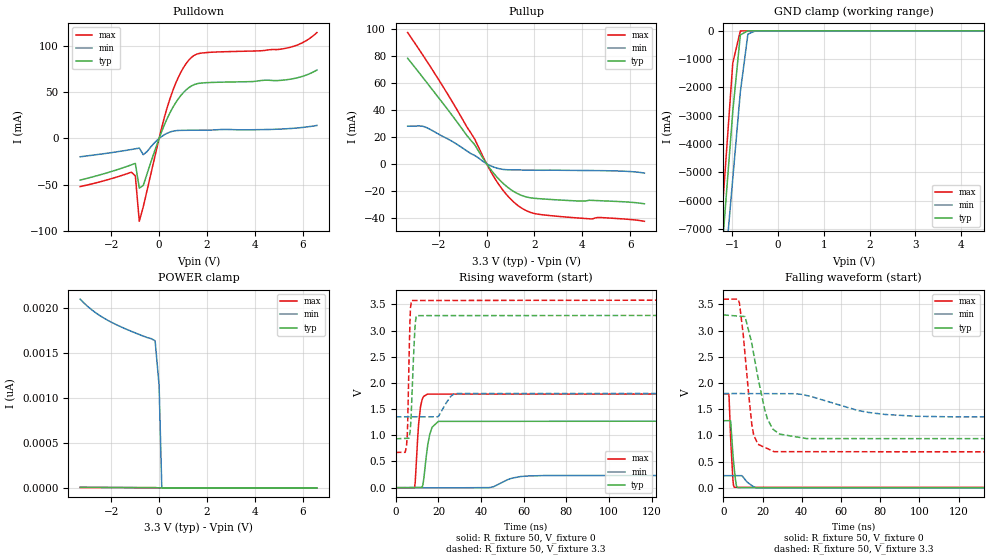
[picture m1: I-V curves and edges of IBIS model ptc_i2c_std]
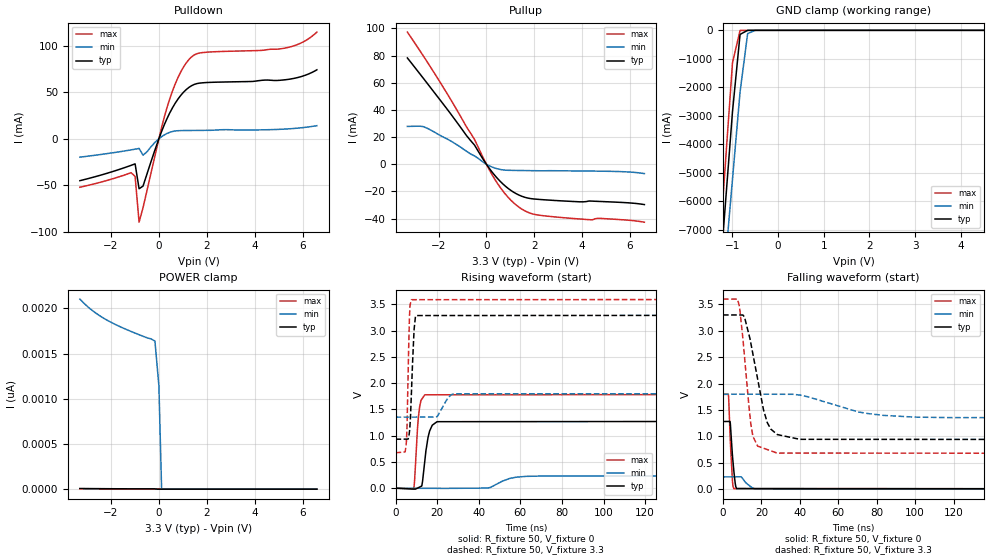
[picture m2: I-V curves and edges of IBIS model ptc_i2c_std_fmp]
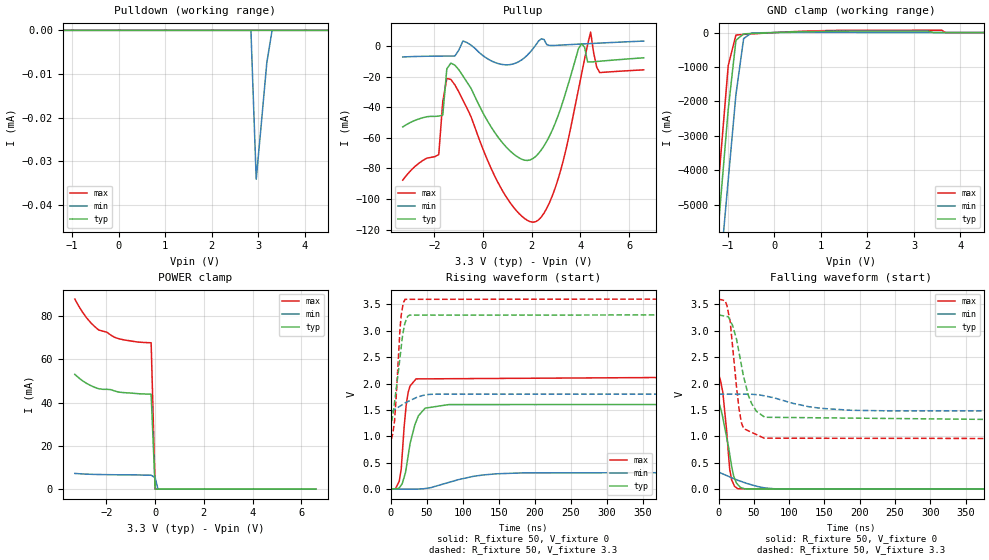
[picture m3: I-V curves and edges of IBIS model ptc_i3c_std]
|   Microchip Technology, Incorporated
|   PIC18F14Q20/PIC18F15Q20/PIC18F16Q20
[IBIS Ver]   4.2
[Date]   February 2, 2024
[File Name]   PIC18F1xQ20_soic20_LV.ibs
[File rev]   1.0
[SOURCE]   File originated at Microchip
[Notes]   The following is an IBIS list for the PIC18F1xQ20 Family.
|   LV = Low Voltage Range 1.8V, 3.3V, 3.6V.
|   -All test data contained in this file is derived
|   from hspice simulation. Simulations are made with
|   typical process model. Linear extrapolation is
|   used to get to the endpoints where spice model is
|   not well behaved. Customer should be aware that
|   accuracy is not warranted under process variation
|   and extrapolated area.
|   -The package model information is from Amkor Technology
|   -Revision History
|   Version Date   Author
|   1.0   February 2024   SC/LS
[Disclaimer] Property of Microchip technology Incorporated.
                Unauthorized reproduction and/or distribution is strictly
                restricted.  All rights reserved.
                The model provided is not warranted as fully representing
                all of the operating characteristics and specifications
                of all the semiconductor products related to the model.
                Microchip does not assume any liability for the proper
                functioning of these IBIS models in your design or for
                any resulting application.
                Microchip does not assume any liability for infringement
                of patents, copyrights or intellectual property rights
                resulting from your use of these IBIS models.
                Microchip reserves the right to make changes without notice
                to these IBIS models to improve reliability, function, or
                design.
                Please be aware that your receipt and use of the IBIS
                information provided shall serve as acceptance of these
                terms and conditions.  If you do not accept these terms,
                you should return or destroy the IBIS model and any other
                accompanying information immediately.
[Component] PIC18F1xQ20
[manufacturer] MICROCHIP TECHNOLOGY Inc.
[Package]
R_pkg   21.8m   17.0m   26.6m
L_pkg   3.100nH 1.890nH 4.310nH
C_pkg   0.712pF 0.608pF 0.816pF
[Pin]   signal_name   model_name   R_pin   L_pin   C_pin
1   VDD   POWER
2   RA5   io_dig
3   RA4   io_osc2
4   RA3   in_nmclr
5   RC5   io_i2c
6   RC4   io_i2c
7   RC3   io_dig
8   RC6   io_dig
9   RC7   io_dig
10   RB7   io_dig
11   RB6   ptc_i2c
12   RB5   ptc_i3c
13   VDDIO3   POWER
14   VDDIO2   POWER
15   RC1   ptc_i3c
16   RC0   ptc_i2c
17   RA2   io_vrefl
18   RA1   io_vrefh10
19   RA0   io_dig
20   VSS   GND
[Model Selector] ptc_i2c
| Model Description
ptc_i2c_std   Normal Driver
ptc_i2c_slctrl   Slew Rate Limited Driver
ptc_i2c_std_fmp   Normal Driver Fast Mode Plus
ptc_i2c_slctrl_fmp   Slew Rate Limited Driver Fast Mode Plus
[Model Selector] ptc_i3c
| Model Description
ptc_i3c_std   Normal Driver
ptc_i2c_std   Normal Driver
ptc_i2c_slctrl   Slew Rate Limited Driver
ptc_i2c_std_fmp   Normal Driver Fast Mode Plus
ptc_i2c_slctrl_fmp   Slew Rate Limited Driver Fast Mode Plus
|[Package Model]   There is an optional, fairly complex Package Modeling
|   section here in the file if you want it.  You will have
|   to add it yourself, because SiliconSmart has no
|   notion of packaging.  Please see the IBIS Specification
|   for details.
[Model Selector] io_dig
| Model Description
io_dig_std   Normal Driver
io_dig_slctrl   Slew Rate Limited Driver
[Model Selector] io_i2c
| Model Description
io_i2c_std   Normal Driver
io_i2c_slctrl   Slew Rate Limited Driver
[Model Selector] io_osc2
| Model Description
io_osc2_std   Normal Driver
io_osc2_slctrl   Slew Rate Limited Driver
[Model Selector] io_vrefh5
| Model Description
io_vrefh5_std   Normal Driver
io_vrefh5_slctrl   Slew Rate Limited Driver
[Model Selector] io_vrefh8
| Model Description
io_vrefh8_std   Normal Driver
io_vrefh8_slctrl   Slew Rate Limited Driver
[Model Selector] io_vrefl
| Model Description
io_vrefl_std   Normal Driver
io_vrefl_slctrl   Slew Rate Limited Driver
[Model Selector] io_zxover
| Model Description
io_zxover_std   Normal Driver
io_zxover_slctrl   Slew Rate Limited Driver
[Model Selector] io_dacbuf
| Model Description
io_dacbuf_std   Normal Driver
io_dacbuf_slctrl   Slew Rate Limited Driver
[Model Selector] io_wpd
| Model Description
io_wpd_std   Normal Driver
io_wpd_slctrl   Slew Rate Limited Driver
[Model Selector] io_vrefh10
| Model Description
io_vrefh10_std   Normal Driver
io_vrefh10_slctrl   Slew Rate Limited Driver
[Model Selector] io_opa
| Model Description
io_opa_std   Normal Driver
io_opa_slctrl   Slew Rate Limited Driver
| Models and submodels in the file (28): ptc_i2c_std (I/O), ptc_i2c_slctrl (I/O), ptc_i2c_std_fmp (I/O), ptc_i2c_slctrl_fmp (I/O), ptc_i3c_std (I/O), in_nmclr (Input), io_dig_std (I/O), io_dig_slctrl (I/O), io_i2c_std (I/O), io_i2c_slctrl (I/O), io_osc2_std (I/O), io_osc2_slctrl (I/O), io_vrefh5_std (I/O), io_vrefh5_slctrl (I/O), io_vrefh8_std (I/O), io_vrefh8_slctrl (I/O), io_vrefl_std (I/O), io_vrefl_slctrl (I/O), io_zxover_std (I/O), io_zxover_slctrl (I/O), io_dacbuf_std (I/O), io_dacbuf_slctrl (I/O), io_wpd_std (I/O), io_wpd_slctrl (I/O), io_vrefh10_std (I/O), io_vrefh10_slctrl (I/O), io_opa_std (I/O), io_opa_slctrl (I/O)
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[Model] ptc_i2c_std
Model_type I/O
Enable   Active-High
Vinl  =  0.8
Vinh  =  2
| Capacitance   typ   min   max
C_comp   1.98838661529362e-12   1.936286520932678e-12   2.024227933539483e-12
[Model Spec]
| Subparameter   typ   min   max
Vinl   0.99   0.54   1.08
Vinh   2.1   1.26   2.52
Vmeas   1.65   0.9   1.8
| Variables   typ   min   max
[GND Clamp Reference]   0   0   0
[POWER Clamp Reference]   3.3   1.8   3.6
[Pulldown Reference]   0   0   0
[Pullup Reference]   3.3   1.8   3.6
[Temperature Range]   25   125   -40
[Voltage Range]   3.3   1.8   3.6
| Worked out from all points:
|   slope of the pulldown table from 0 to 0.495 V, typ, clamps not added: 16.6 ohm
|   slope of the pullup table from 0 to 0.495 V, typ, clamps not added: 44.8 ohm
|   GND clamp passes 1 mA (typ) near -0.66 V on its own axis
|   falling waveform, R_fixture 50, V_fixture 0: 20-80 % time 1.7ns typ, 3.95ns min, 1.35ns max; typ from 1.28 V to 0 V
|   falling waveform, R_fixture 50, V_fixture 3.3: 20-80 % time 7.71ns typ, 25.9ns min, 4.53ns max; typ from 3.3 V to 0.933 V
|   rising waveform, R_fixture 50, V_fixture 0: 20-80 % time 2.6ns typ, 7.87ns min, 1.83ns max; typ from 0 V to 1.28 V
|   rising waveform, R_fixture 50, V_fixture 3.3: 20-80 % time 1.46ns typ, 4.02ns min, 958ps max; typ from 0.933 V to 3.3 V
[GND Clamp]
| Voltage   I(typ)   I(min)   I(max)
-3.3V     -51.07A    -47.87A    -53.84A
-1.324V   -9.771A    -11.34A    -8.69A
-1.159V   -6.312A    -8.283A    -4.908A
-993.1mV  -2.852A    -5.223A    -1.138A
-827.6mV  -143.2mA   -2.163A    -4.59mA
-662.1mV  -919.7uA   -114.5mA   -518.5uA
-496.6mV  -19.72uA   -1.156mA   -5.378uA
6.6V      0A         0A         0A
[POWER Clamp]
| Voltage   I(typ)   I(min)   I(max)
-3.3V     7.272pA    2.102nA    4.371pA
-2.814V   6.225pA    1.982nA    3.954pA
-2.152V   5.06pA     1.867nA    3.392pA
-1.49V    4.113pA    1.781nA    2.842pA
-165.5mV  2.92pA     1.638nA    2.04pA
0V        0A         1.145nA    0A
113.8mV   0A         0A         0A
6.6V      0A         0A         0A
[Pulldown]
| Voltage   I(typ)   I(min)   I(max)
-3.3V     -45.15mA   -19.86mA   -52.2mA
-1.159V   -28.61mA   -11.95mA   -36.57mA
-993.1mV  -27.04mA   -11.21mA   -40.53mA
-827.6mV  -53.85mA   -10.43mA   -89.85mA
-662.1mV  -50.96mA   -17.64mA   -74.19mA
341.4mV   21.81mA    5.724mA    33.74mA
796.6mV   42.72mA    8.675mA    65.86mA
1.252V    55.26mA    8.915mA    85.26mA
1.821V    60.23mA    9.026mA    92.79mA
5.286V    63.56mA    10.47mA    97.75mA
6.031V    67.66mA    12.05mA    104.3mA
6.6V      74.26mA    14.12mA    114.9mA
[Pullup]
| Voltage   I(typ)   I(min)   I(max)
-3.3V     78.25mA    27.85mA    97.29mA
-2.483V   59.84mA    26.6mA     75.64mA
-496.6mV  14.15mA    6.163mA    18.29mA
227.6mV   -5.514mA   -1.97mA    -7.381mA
682.8mV   -14.4mA    -4.168mA   -19.57mA
1.252V    -21.74mA   -4.568mA   -30.15mA
1.707V    -24.81mA   -4.685mA   -35.17mA
2.162V    -25.84mA   -4.786mA   -37.42mA
4.417V    -27.16mA   -5.042mA   -40.95mA
4.666V    -27.35mA   -5.088mA   -39.82mA
5.41V     -27.91mA   -5.319mA   -40.56mA
6.6V      -29.7mA    -6.882mA   -42.67mA
[Ramp]
dV/dt_r   0.768931/2.60063n  0.139533/7.8736n  1.07689/1.83428n
dV/dt_f   1.42001/7.71333n  0.268118/25.9147n  1.7557/4.53418n
R_load = 50
[Falling Waveform]
R_fixture = 50
V_fixture = 0
V_fixture_min = 0
V_fixture_max = 0
| Time   V(typ)   V(min)   V(max)
0s        1.282V     232.6mV    1.795V
2.795ns   1.282V     232.6mV    1.79V
2.956ns   1.282V     232.6mV    1.707V
3.799ns   1.244V     232.6mV    897.4mV
4.809ns   688mV      232.6mV    205mV
5.618ns   353.6mV    232.6mV    10.39mV
6.671ns   43.84mV    232.6mV    10.37mV
7.568ns   3.165mV    232.6mV    10.35mV
17.77ns   3.107mV    1.056mV    10.16mV
562.5ns   52.55pV    6.08nV     12.87pV
[Falling Waveform]
R_fixture = 50
V_fixture = 3.3
V_fixture_min = 1.8
V_fixture_max = 3.6
| Time   V(typ)   V(min)   V(max)
0s        3.3V       1.8V       3.6V
7.496ns   3.279V     1.799V     3.602V
8.24ns    3.277V     1.799V     3.526V
11.07ns   3.269V     1.799V     2.547V
14.53ns   2.752V     1.799V     1.212V
15.46ns   2.56V      1.799V     1.012V
21.03ns   1.508V     1.798V     773.9mV
25.94ns   1.102V     1.798V     690.6mV
98.37ns   939.4mV    1.366V     688.4mV
562.5ns   933.3mV    1.353V     673.8mV
[Rising Waveform]
R_fixture = 50
V_fixture = 0
V_fixture_min = 0
V_fixture_max = 0
| Time   V(typ)   V(min)   V(max)
0s        14.62pV    15.17nV    10.71pV
8.766ns   4.932mV    -1.167mV   -2.101mV
10.68ns   6.011mV    -1.422mV   1.208V
11.55ns   6.497mV    -1.537mV   1.539V
12.76ns   68.99mV    -1.698mV   1.719V
14.84ns   775.6mV    -1.976mV   1.787V
17.02ns   1.155V     -2.266mV   1.787V
19.97ns   1.266V     -2.658mV   1.787V
69.4ns    1.268V     231.6mV    1.788V
562.5ns   1.282V     232.6mV    1.795V
[Rising Waveform]
R_fixture = 50
V_fixture = 3.3
V_fixture_min = 1.8
V_fixture_max = 3.6
| Time   V(typ)   V(min)   V(max)
0s        933.3mV    1.353V     673.8mV
4.979ns   941.5mV    1.353V     782.1mV
5.544ns   942.5mV    1.353V     1.202V
6.63ns    1.044V     1.353V     3.17V
7.357ns   1.539V     1.353V     3.574V
8.903ns   3.009V     1.353V     3.574V
9.866ns   3.285V     1.353V     3.574V
19.92ns   3.285V     1.362V     3.574V
28.49ns   3.286V     1.797V     3.575V
562.5ns   3.3V       1.8V       3.6V
[Model] ptc_i2c_std_fmp
Model_type I/O
Enable   Active-High
Vinl  =  0.8
Vinh  =  2
| Capacitance   typ   min   max
C_comp   1.98838661529362e-12   1.936286520932678e-12   2.024227933539483e-12
[Model Spec]
| Subparameter   typ   min   max
Vinl   0.99   0.54   1.08
Vinh   2.1   1.26   2.52
Vmeas   1.65   0.9   1.8
| Variables   typ   min   max
[GND Clamp Reference]   0   0   0
[POWER Clamp Reference]   3.3   1.8   3.6
[Pulldown Reference]   0   0   0
[Pullup Reference]   3.3   1.8   3.6
[Temperature Range]   25   125   -40
[Voltage Range]   3.3   1.8   3.6
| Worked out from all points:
|   slope of the pulldown table from 0 to 0.495 V, typ, clamps not added: 16.6 ohm
|   slope of the pullup table from 0 to 0.495 V, typ, clamps not added: 44.8 ohm
|   GND clamp passes 1 mA (typ) near -0.66 V on its own axis
|   falling waveform, R_fixture 50, V_fixture 0: 20-80 % time 1.7ns typ, 3.9ns min, 1.36ns max; typ from 1.28 V to 0 V
|   falling waveform, R_fixture 50, V_fixture 3.3: 20-80 % time 7.69ns typ, 25.9ns min, 4.52ns max; typ from 3.3 V to 0.933 V
|   rising waveform, R_fixture 50, V_fixture 0: 20-80 % time 2.65ns typ, 7.82ns min, 1.78ns max; typ from 0 V to 1.28 V
|   rising waveform, R_fixture 50, V_fixture 3.3: 20-80 % time 1.45ns typ, 3.94ns min, 976ps max; typ from 0.933 V to 3.3 V
[GND Clamp]
| Voltage   I(typ)   I(min)   I(max)
-3.3V     -51.07A    -47.87A    -53.84A
-1.324V   -9.771A    -11.34A    -8.69A
-1.159V   -6.312A    -8.283A    -4.908A
-993.1mV  -2.852A    -5.223A    -1.138A
-827.6mV  -143.2mA   -2.163A    -4.59mA
-662.1mV  -919.7uA   -114.5mA   -518.5uA
-496.6mV  -19.72uA   -1.156mA   -5.378uA
6.6V      0A         0A         0A
[POWER Clamp]
| Voltage   I(typ)   I(min)   I(max)
-3.3V     7.272pA    2.102nA    4.371pA
-2.814V   6.225pA    1.982nA    3.954pA
-2.152V   5.06pA     1.867nA    3.392pA
-1.49V    4.113pA    1.781nA    2.842pA
-165.5mV  2.92pA     1.638nA    2.04pA
0V        0A         1.145nA    0A
113.8mV   0A         0A         0A
6.6V      0A         0A         0A
[Pulldown]
| Voltage   I(typ)   I(min)   I(max)
-3.3V     -45.15mA   -19.86mA   -52.2mA
-1.159V   -28.61mA   -11.95mA   -36.57mA
-993.1mV  -27.04mA   -11.21mA   -40.53mA
-827.6mV  -53.85mA   -10.43mA   -89.85mA
-662.1mV  -50.96mA   -17.64mA   -74.19mA
341.4mV   21.81mA    5.724mA    33.74mA
796.6mV   42.72mA    8.675mA    65.86mA
1.252V    55.26mA    8.915mA    85.26mA
1.821V    60.23mA    9.026mA    92.79mA
5.286V    63.56mA    10.47mA    97.75mA
6.031V    67.66mA    12.05mA    104.3mA
6.6V      74.26mA    14.12mA    114.9mA
[Pullup]
| Voltage   I(typ)   I(min)   I(max)
-3.3V     78.25mA    27.85mA    97.29mA
-2.483V   59.84mA    26.6mA     75.64mA
-496.6mV  14.15mA    6.163mA    18.29mA
227.6mV   -5.514mA   -1.97mA    -7.381mA
682.8mV   -14.4mA    -4.168mA   -19.57mA
1.252V    -21.74mA   -4.568mA   -30.15mA
1.707V    -24.81mA   -4.685mA   -35.17mA
2.162V    -25.84mA   -4.786mA   -37.42mA
4.417V    -27.16mA   -5.042mA   -40.95mA
4.666V    -27.35mA   -5.088mA   -39.82mA
5.41V     -27.91mA   -5.319mA   -40.56mA
6.6V      -29.7mA    -6.882mA   -42.67mA
[Ramp]
dV/dt_r   0.768931/2.64622n  0.139533/7.82043n  1.07689/1.78423n
dV/dt_f   1.42001/7.69196n  0.268118/25.9295n  1.7557/4.51862n
R_load = 50
[Falling Waveform]
R_fixture = 50
V_fixture = 0
V_fixture_min = 0
V_fixture_max = 0
| Time   V(typ)   V(min)   V(max)
0s        1.282V     232.6mV    1.795V
2.871ns   1.282V     232.9mV    1.763V
3.799ns   1.244V     233mV      905.4mV
4.931ns   623.4mV    233.2mV    143.2mV
5.611ns   351.1mV    233.3mV    10.62mV
6.308ns   117.8mV    233.3mV    10.61mV
7.072ns   11.16mV    233.4mV    10.59mV
9.36ns    11.11mV    233.7mV    10.55mV
18.48ns   10.93mV    689.2uV    10.38mV
562.5ns   105pV      5.795nV    13.76pV
[Falling Waveform]
R_fixture = 50
V_fixture = 3.3
V_fixture_min = 1.8
V_fixture_max = 3.6
| Time   V(typ)   V(min)   V(max)
0s        3.3V       1.8V       3.6V
7.523ns   3.299V     1.799V     3.601V
8.585ns   3.299V     1.799V     3.454V
11.14ns   3.264V     1.799V     2.523V
14.5ns    2.76V      1.799V     1.221V
15.55ns   2.557V     1.799V     998.9mV
23ns      1.262V     1.798V     750.2mV
28.14ns   1.037V     1.798V     683.4mV
99.67ns   943mV      1.365V     682.1mV
562.5ns   933.3mV    1.353V     673.8mV
[Rising Waveform]
R_fixture = 50
V_fixture = 0
V_fixture_min = 0
V_fixture_max = 0
| Time   V(typ)   V(min)   V(max)
0s        15.13pV    15.16nV    9.769pV
8.689ns   -16.65mV   -1.134mV   -9.845mV
9.151ns   -17.54mV   -1.195mV   137.5mV
10.98ns   10.42mV    -1.434mV   1.349V
12.62ns   42.41mV    -1.648mV   1.695V
14.08ns   521.4mV    -1.838mV   1.778V
16.4ns    1.091V     -2.141mV   1.778V
19.97ns   1.266V     -2.607mV   1.778V
70.38ns   1.268V     231.8mV    1.78V
562.5ns   1.282V     232.6mV    1.795V
[Rising Waveform]
R_fixture = 50
V_fixture = 3.3
V_fixture_min = 1.8
V_fixture_max = 3.6
| Time   V(typ)   V(min)   V(max)
0s        933.3mV    1.353V     673.8mV
4.971ns   933.8mV    1.353V     779.6mV
5.487ns   933.9mV    1.353V     1.117V
6.681ns   1.07V      1.353V     3.236V
7.644ns   1.825V     1.353V     3.588V
8.915ns   3.017V     1.353V     3.588V
9.898ns   3.286V     1.353V     3.588V
19.84ns   3.286V     1.36V      3.588V
28.28ns   3.287V     1.797V     3.588V
562.5ns   3.3V       1.8V       3.6V
[Model] ptc_i3c_std
Model_type I/O
Enable   Active-High
Vinl  =  0.8
Vinh  =  2
| Capacitance   typ   min   max
C_comp   1.361875082115405e-11   6.269868446205175e-12   1.783801958453184e-11
[Model Spec]
| Subparameter   typ   min   max
Vinl   0.99   0.54   1.08
Vinh   2.1   1.26   2.52
Vmeas   1.65   0.9   1.8
| Variables   typ   min   max
[GND Clamp Reference]   0   0   0
[POWER Clamp Reference]   3.3   1.8   3.6
[Pulldown Reference]   0   0   0
[Pullup Reference]   3.3   1.8   3.6
[Temperature Range]   25   125   -40
[Voltage Range]   3.3   1.8   3.6
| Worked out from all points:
|   slope of the pullup table from 0 to 0.495 V, typ, clamps not added: 38 ohm
|   GND clamp passes 1 mA (typ) near -0.02 V on its own axis
|   POWER clamp passes 1 mA (typ) near -0.00 V on its own axis
|   falling waveform, R_fixture 50, V_fixture 0: 20-80 % time 13.2ns typ, 39.4ns min, 8.44ns max; typ from 1.6 V to 0 V
|   falling waveform, R_fixture 50, V_fixture 3.3: 20-80 % time 20.4ns typ, 61.3ns min, 12.3ns max; typ from 3.3 V to 1.3 V
|   rising waveform, R_fixture 50, V_fixture 0: 20-80 % time 14.7ns typ, 55ns min, 7.92ns max; typ from 0 V to 1.6 V
|   rising waveform, R_fixture 50, V_fixture 3.3: 20-80 % time 10.5ns typ, 26.3ns min, 6.84ns max; typ from 1.3 V to 3.3 V
[GND Clamp]
| Voltage   I(typ)   I(min)   I(max)
-3.3V     -39.54A    -39.18A    -39.98A
-1.324V   -7.572A    -9.286A    -6.463A
-1.159V   -4.896A    -6.782A    -3.659A
-993.1mV  -2.231A    -4.281A    -957.2mA
-827.6mV  -223.3mA   -1.803A    -71.34mA
-662.1mV  -37.81mA   -175.3mA   -53.68mA
-496.6mV  -27.03mA   -11.91mA   -39.7mA
1.593V    42.48mA    6.417mA    65.51mA
3.3V      43.85mA    0A         67.47mA
3.6V      0A         0A         67.6mA
3.672V    0A         0A         0A
6.6V      0A         0A         0A
[POWER Clamp]
| Voltage   I(typ)   I(min)   I(max)
-3.3V     53.05mA    7.265mA    87.88mA
-2.979V   50.07mA    7.038mA    81.74mA
-2.814V   48.89mA    6.952mA    79.16mA
-2.317V   46.41mA    6.778mA    73.57mA
-1.986V   46.16mA    6.709mA    72.57mA
-1.655V   45.35mA    6.659mA    70.14mA
-1.49V    44.86mA    6.639mA    69.52mA
-662.1mV  44.1mA     6.563mA    67.96mA
-165.5mV  43.91mA    6.465mA    67.67mA
0V        0A         5.275mA    0A
113.8mV   0A         0A         0A
6.6V      0A         0A         0A
[Pulldown]
| Voltage   I(typ)   I(min)   I(max)
-3.3V     0A         0A         0A
2.845V    0A         0A         0A
2.959V    0A         -34.11uA   0A
3.186V    0A         -7.422uA   0A
3.3V      0A         0A         0A
5.162V    0A         0A         0A
5.286V    -721.6uA   0A         0A
5.534V    -47.66uA   0A         0A
5.659V    0A         0A         0A
5.783V    0A         0A         -522.5uA
5.907V    0A         0A         0A
6.6V      0A         0A         0A
[Pullup]
| Voltage   I(typ)   I(min)   I(max)
-3.3V     -52.9mA    -7.245mA   -87.63mA
-1.821V   -45.84mA   -6.663mA   -70.94mA
-1.655V   -45.13mA   -6.64mA    -36.21mA
-1.49V    -14.96mA   -6.62mA    -21.22mA
-1.324V   -11.23mA   -6.614mA   -21.89mA
796.6mV   -63.26mA   -12.16mA   -94.54mA
2.162V    -72.14mA   522.8uA    -114.7mA
3.186V    -40.83mA   521.5uA    -81.23mA
4.045V    1.44mA     1.243mA    -18.33mA
4.417V    -10.48mA   1.543mA    9.014mA
4.79V     -10.01mA   1.835mA    -17.43mA
6.6V      -7.763mA   3.159mA    -15.63mA
[Ramp]
dV/dt_r   0.961849/14.6957n  0.188443/55.0447n  1.27742/7.91954n
dV/dt_f   1.20151/20.3993n  0.192064/61.3465n  1.58562/12.2672n
R_load = 50
[Falling Waveform]
R_fixture = 50
V_fixture = 0
V_fixture_min = 0
V_fixture_max = 0
| Time   V(typ)   V(min)   V(max)
0s        1.603V     314.1mV    2.129V
5.993ns   1.35V      288.6mV    1.831V
11.14ns   996.7mV    259.1mV    1.139V
15.66ns   665.7mV    233.3mV    380.7mV
18.37ns   438.9mV    217.7mV    178.7mV
21.4ns    243.9mV    200.4mV    89.24mV
27.31ns   85.38mV    167mV      6.977mV
37.82ns   2.669mV    119mV      6.84mV
99.34ns   2.356mV    529.1uV    6.038mV
562.5ns   13.35nV    80.91nV    11.93nV
[Falling Waveform]
R_fixture = 50
V_fixture = 3.3
V_fixture_min = 1.8
V_fixture_max = 3.6
| Time   V(typ)   V(min)   V(max)
0s        3.3V       1.8V       3.6V
9.252ns   3.276V     1.8V       3.569V
16.44ns   3.192V     1.8V       3.166V
25.33ns   2.841V     1.799V     1.941V
32.48ns   2.336V     1.799V     1.251V
42.03ns   1.782V     1.799V     1.106V
46.83ns   1.619V     1.797V     1.076V
64.4ns    1.372V     1.768V     965.5mV
187.8ns   1.346V     1.494V     963.5mV
562.5ns   1.297V     1.48V      957.3mV
[Rising Waveform]
R_fixture = 50
V_fixture = 0
V_fixture_min = 0
V_fixture_max = 0
| Time   V(typ)   V(min)   V(max)
0s        79.94pV    48.19nV    23.46pV
11.88ns   23.82mV    110.5uV    148.1mV
14.63ns   76.68mV    136.1uV    383.7mV
21.46ns   392.2mV    199.6uV    1.591V
24.35ns   643.3mV    226.4uV    1.841V
35.15ns   1.276V     326.9uV    2.088V
47.83ns   1.534V     12.2mV     2.089V
80.52ns   1.601V     127.2mV    2.091V
183.9ns   1.602V     308.2mV    2.099V
562.5ns   1.603V     314.1mV    2.129V
[Rising Waveform]
R_fixture = 50
V_fixture = 3.3
V_fixture_min = 1.8
V_fixture_max = 3.6
| Time   V(typ)   V(min)   V(max)
0s        1.297V     1.48V      957.3mV
1.45ns    1.298V     1.481V     971.7mV
5.338ns   1.64V      1.507V     1.289V
12.88ns   2.49V      1.571V     3.028V
14.62ns   2.695V     1.586V     3.299V
17.36ns   2.98V      1.61V      3.525V
20ns      3.15V      1.632V     3.595V
26.32ns   3.296V     1.675V     3.595V
62ns      3.297V     1.799V     3.596V
562.5ns   3.3V       1.8V       3.6V
